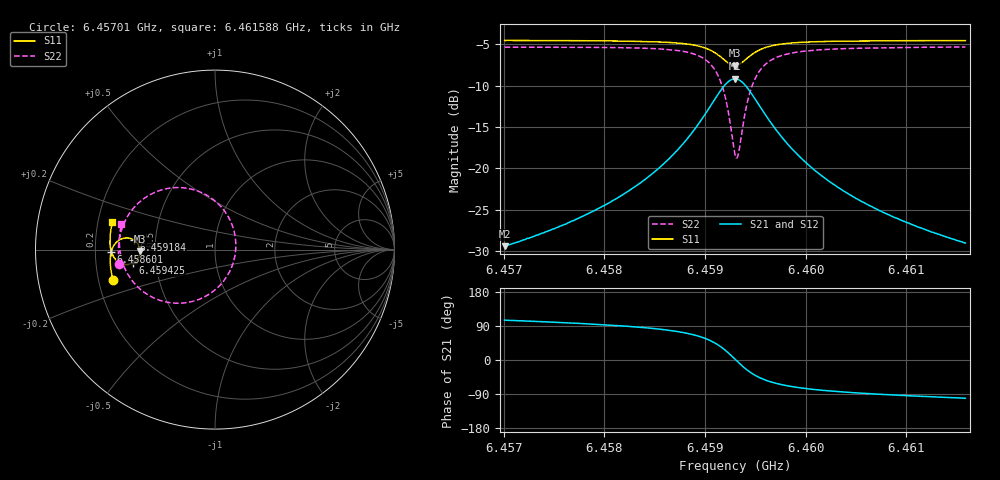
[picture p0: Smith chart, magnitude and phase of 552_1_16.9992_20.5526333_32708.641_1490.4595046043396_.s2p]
#  HZ  S  RI  R  50.00
! Rohde & Schwarz Vector Network Analyzer
! Rohde-Schwarz,ZNB20-2Port,1311601062101988,3.16
! Created: UTC 3/20/2024, 11:16:50 PM
! freq[Hz]  re:S11  im:S11  re:S21  im:S21  re:S12  im:S12  re:S22  im:S22
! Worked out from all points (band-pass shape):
!   401 points, 6.45701 GHz to 6.461588 GHz, reference 50 ohm
!   highest |S21| = -9.19 dB at 6.459299 GHz (marker M1); lowest = -29.4 dB at 6.45701 GHz (marker M2)
!   |S21| within 3 dB of the highest: 6.45907 GHz to 6.459528 GHz (458.2 kHz wide, 0.00709 % of centre)
!   lowest |S11| = -7.6 dB at 6.459299 GHz (marker M3), VSWR 2.43, Z = 20.6 - j0.452 ohm
!   |S11| at or under -10 dB: nowhere
!   |S22| runs from -18.7 to -5.3 dB; largest |S21 - S12| = 0.014
!   S11 on the Smith chart (normalised r, x): 6.45701 GHz: 0.26, -0.14; 6.458601 GHz: 0.27, -0.01; 6.459184 GHz: 0.37, +0.05; 6.459425 GHz: 0.37, -0.07; 6.461588 GHz: 0.26, +0.12
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6.4570096e9  -0.5673 -0.1697  -0.00889 0.0326  -0.00709 0.0326  -0.5332 -0.0818
6.4577765e9  -0.5811 -0.1025  -0.00542 0.0507  -0.00289 0.0501  -0.5383 0.00823
6.4581771e9  -0.5837 -0.0625  8.78e-05 0.0688  0.00332 0.0675  -0.5307 0.0716
6.4585433e9  -0.5798 -0.0188  0.0148 0.0992  0.0186 0.0964  -0.5039 0.1537
6.4586006e9  -0.5779 -0.011  0.019 0.106  0.0231 0.103  -0.4955 0.1703
6.4588066e9  -0.5648 0.0211  0.0468 0.1385  0.051 0.1336  -0.4433 0.2431
6.4589554e9  -0.5419 0.0474  0.0926 0.1691  0.0957 0.1623  -0.359 0.3074
6.4590927e9  -0.4979 0.0648  0.1801 0.1855  0.181 0.178  -0.1988 0.3456
6.4591843e9  -0.4533 0.0544  0.2703 0.1538  0.2706 0.1477  -0.0315 0.2943
6.459253e9  -0.4241 0.0222  0.3309 0.0814  0.333 0.0761  0.0843 0.1637
6.4592988e9  -0.4173 -0.00908  0.347 0.0131  0.3508 0.00611  0.1161 0.0356
6.4593102e9  -0.4177 -0.0171  0.3468 -0.00481  0.3507 -0.0126  0.1156 0.00186
6.4593331e9  -0.4212 -0.0327  0.3412 -0.0396  0.3452 -0.0487  0.1042 -0.0643
6.4593789e9  -0.437 -0.0589  0.3122 -0.0996  0.3144 -0.1117  0.0459 -0.1779
6.4594247e9  -0.4592 -0.0752  0.27 -0.1409  0.2691 -0.1542  -0.0402 -0.2531
6.4595162e9  -0.5027 -0.0823  0.1847 -0.1719  0.1785 -0.1836  -0.2101 -0.2989
6.459665e9  -0.5467 -0.0616  0.0963 -0.1577  0.0878 -0.164  -0.3788 -0.2486
6.4598253e9  -0.5682 -0.0338  0.0513 -0.1296  0.0436 -0.1323  -0.4595 -0.1759
6.4600656e9  -0.5811 0.00172  0.0221 -0.0978  0.0162 -0.0984  -0.5074 -0.0928
6.460409e9  -0.5854 0.0427  0.00621 -0.0707  0.00207 -0.0703  -0.5285 -0.0133
6.4608325e9  -0.5836 0.0853  -0.00161 -0.0522  -0.0044 -0.0513  -0.5327 0.055
6.4615879e9  -0.5713 0.1522  -0.00672 -0.0347  -0.00841 -0.0337  -0.5212 0.1444
